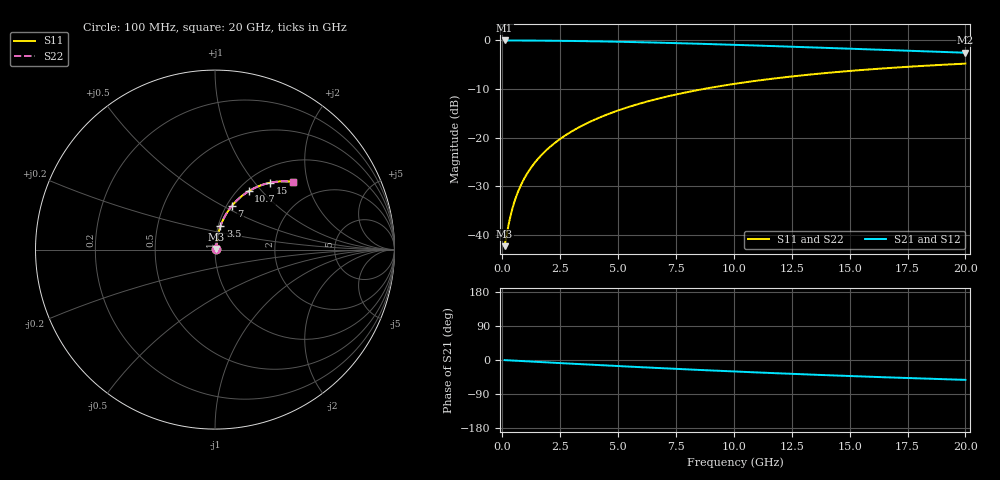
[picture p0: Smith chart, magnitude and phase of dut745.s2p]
! Touchstone file exported from HFSS 2024.1.0
!  File:  C:/UserFiles/LocalFiles/RDL_TSV_Batchsim/temp_RDL_top_745_1779851587.aedt
!  Generated:  11:15:42 AM May 27, 2026
!  Design:  RDL_top
!  Project:  temp_RDL_top_745_1779851587
!  Setup:  Setup1
!  Solution:  Sweep
! Variables:
!  dtsv = 10.80580581um
!  hbump = 3um
!  htsv = 75.83um
!  ldown = 100um
!  lrdl = 662.05um
!  p = 40
!  p1 = 58.02um
!  rhole = 1um
!  t = 450um
!  tdown = 3.915915916um
!  trdl = 3.1um
!  wdown = 15.38538539um
!  wrdl = 11.6um
# GHz S MA R 50.000000
! Terminal data exported
! Port[1] = Box2_T1
! Port[2] = Box2_T2
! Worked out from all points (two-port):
!   200 points, 100 MHz to 20 GHz, reference 50 ohm
!   highest |S21| = -0.06 dB at 100 MHz (marker M1); lowest = -2.6 dB at 20 GHz (marker M2)
!   |S21| within 3 dB of the highest: start of sweep to end of sweep
!   lowest |S11| = -42.3 dB at 100 MHz (marker M3), VSWR 1.02, Z = 50.7 + j0.404 ohm
!   |S11| at or under -10 dB: start of sweep to 8.721 GHz
!   |S22| runs from -42.3 to -4.8 dB; largest |S21 - S12| = 1.7e-15
!   S11 on the Smith chart (normalised r, x): 100 MHz: 1.01, +0.01; 3.5 GHz: 1.03, +0.27; 7 GHz: 1.06, +0.55; 10.7 GHz: 1.12, +0.85; 15 GHz: 1.24, +1.20; 20 GHz: 1.45, +1.63
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0.1  0.007664 31.3  0.9935 -0.3  0.9935 -0.3  0.007664 31.3
! Gamma 0 0 0 0
! Port Impedance 50 0 50 0
0.3  0.01373 60.1  0.9932 -1.0  0.9932 -1.0  0.01373 60.1
0.4  0.01732 65.9  0.993 -1.3  0.993 -1.3  0.01732 65.9
0.5  0.02103 69.6  0.9928 -1.7  0.9928 -1.7  0.02103 69.6
0.6  0.02477 72.0  0.9926 -2.0  0.9926 -2.0  0.02477 72.0
0.8  0.03232 75.0  0.9921 -2.6  0.9921 -2.6  0.03232 75.0
1.1  0.04368 77.3  0.9912 -3.6  0.9912 -3.6  0.04368 77.3
1.5  0.05887 78.5  0.9898 -4.9  0.9898 -4.9  0.05887 78.5
2.1  0.08166 78.8  0.9871 -6.9  0.9871 -6.9  0.08166 78.8
2.7  0.1044 78.3  0.9837 -8.8  0.9837 -8.8  0.1044 78.3
3.5  0.1345 77.0  0.978 -11.3  0.978 -11.3  0.1345 77.0
4.2  0.1605 75.6  0.9719 -13.5  0.9719 -13.5  0.1605 75.6
5  0.1897 73.8  0.964 -16.0  0.964 -16.0  0.1897 73.8
6.8  0.2531 69.5  0.9426 -21.4  0.9426 -21.4  0.2531 69.5
7  0.2599 69.0  0.9399 -22.0  0.9399 -22.0  0.2599 69.0
8.5  0.3092 65.3  0.919 -26.2  0.919 -26.2  0.3092 65.3
10.1  0.3582 61.5  0.895 -30.5  0.895 -30.5  0.3581 61.4
10.7  0.3755 60.0  0.8857 -32.1  0.8857 -32.1  0.3754 60.0
13.4  0.4464 53.9  0.8429 -38.7  0.8429 -38.7  0.4462 53.9
15  0.483 50.5  0.8176 -42.3  0.8176 -42.3  0.4829 50.5
16.7  0.5178 47.1  0.7913 -45.9  0.7913 -45.9  0.5176 47.1
20  0.5744 41.0  0.7432 -52.4  0.7432 -52.4  0.5742 41.0
